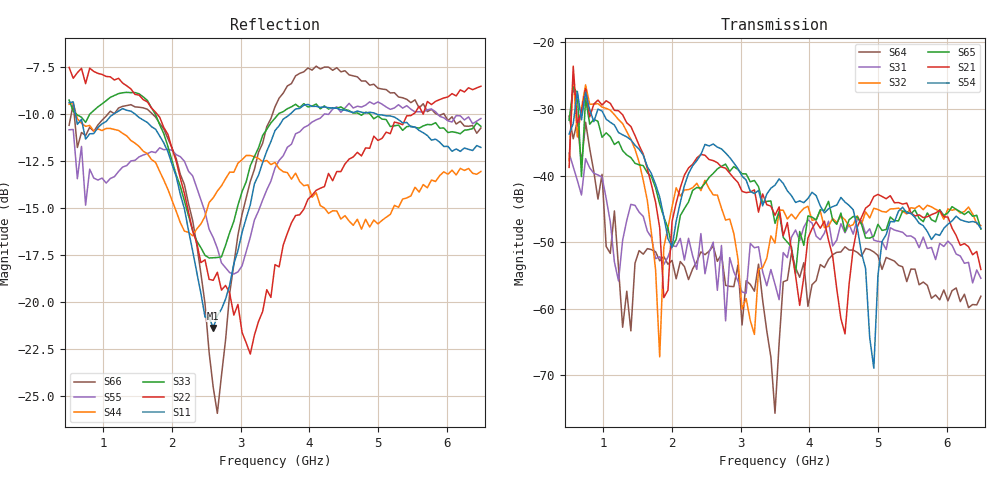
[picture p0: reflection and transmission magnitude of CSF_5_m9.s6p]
!Keysight Technologies,M9804A,MY58100912,A.14.10.03
!Date: Thursday, April 27, 2023 10:28:33
!Correction: S11(C  6-Port  )
!S12(C  6-Port  )
!S13(C  6-Port  )
!S14(C  6-Port  )
!S15(C  6-Port  )
!S16(C  6-Port  )
!S21(C  6-Port  )
!S22(C  6-Port  )
!S23(C  6-Port  )
!S24(C  6-Port  )
!S25(C  6-Port  )
!S26(C  6-Port  )
!S31(C  6-Port  )
!S32(C  6-Port  )
!S33(C  6-Port  )
!S34(C  6-Port  )
!S35(C  6-Port  )
!S36(C  6-Port  )
!S41(C  6-Port  )
!S42(C  6-Port  )
!S43(C  6-Port  )
!S44(C  6-Port  )
!S45(C  6-Port  )
!S46(C  6-Port  )
!S51(C  6-Port  )
!S52(C  6-Port  )
!S53(C  6-Port  )
!S54(C  6-Port  )
!S55(C  6-Port  )
!S56(C  6-Port  )
!S61(C  6-Port  )
!S62(C  6-Port  )
!S63(C  6-Port  )
!S64(C  6-Port  )
!S65(C  6-Port  )
!S66(C  6-Port  )
!S6P File: Measurement: :
# Hz S  RI  R 50
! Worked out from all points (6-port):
!   101 points, 500 MHz to 6.5 GHz, reference 50 ohm
!   strongest paths, dB at 500 MHz, 2 GHz, 3.5 GHz, 5 GHz, 6.5 GHz:
!     S54: -33.8, -50.7, -41.4, -55.0, -47.9
!     S21: -38.8, -46.9, -46.0, -42.8, -54.1
!     S65: -31.7, -50.7, -47.2, -47.3, -48.0
!     S32: -37.7, -44.7, -50.1, -45.1, -47.5
!     S31: -36.6, -50.5, -56.3, -49.9, -55.4
!     S64: -31.1, -52.7, -75.7, -52.0, -58.1
!   lowest |S11| = -21.4 dB at 2.6 GHz (marker M1), VSWR 1.19, Z = 42.4 + j2.29 ohm
!   |S11| at or under -10 dB: 593.2 MHz to 1.144 GHz (550.5 MHz wide, 63.4 % of centre); 1.466 GHz to 3.716 GHz (2.25 GHz wide, 86.8 % of centre); 4.988 GHz to end of sweep
